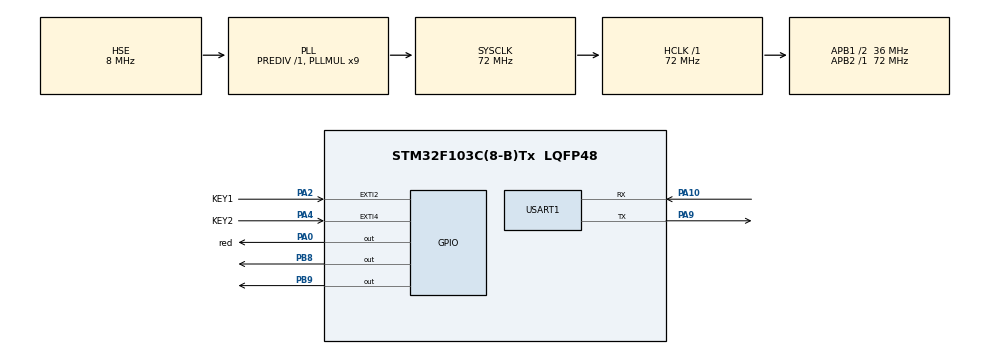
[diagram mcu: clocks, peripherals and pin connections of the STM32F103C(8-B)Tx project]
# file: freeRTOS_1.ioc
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FREERTOS.Tasks01=defaultTask,0,128,StartDefaultTask,Default,NULL,Dynamic,NULL,NULL
Mcu.Family=STM32F1
Mcu.Name=STM32F103C(8-B)Tx
Mcu.Package=LQFP48
NVIC.EXTI2_IRQn=true\:6\:0\:true\:false\:true\:true\:true\:true
NVIC.EXTI4_IRQn=true\:6\:0\:true\:false\:true\:true\:true\:true
NVIC.PriorityGroup=NVIC_PRIORITYGROUP_4
PA0-WKUP.GPIO_Label=red
PA0-WKUP.Signal=GPIO_Output
PA10.Mode=Asynchronous
PA10.Signal=USART1_RX
PA13.Mode=Serial_Wire
PA13.Signal=SYS_JTMS-SWDIO
PA14.Mode=Serial_Wire
PA14.Signal=SYS_JTCK-SWCLK
PA2.GPIO_Label=KEY1
PA2.GPIO_ModeDefaultEXTI=GPIO_MODE_IT_FALLING
PA2.GPIO_PuPd=GPIO_PULLUP
PA2.Signal=GPXTI2
PA4.GPIO_Label=KEY2
PA4.GPIO_ModeDefaultEXTI=GPIO_MODE_IT_FALLING
PA4.GPIO_PuPd=GPIO_PULLUP
PA4.Signal=GPXTI4
PA9.Mode=Asynchronous
PA9.Signal=USART1_TX
PB8.GPIO_ModeDefaultOutputPP=GPIO_MODE_OUTPUT_PP
PB8.GPIO_Speed=GPIO_SPEED_FREQ_HIGH
PB8.PinState=GPIO_PIN_SET
PB8.Signal=GPIO_Output
PB9.GPIO_Speed=GPIO_SPEED_FREQ_HIGH
PB9.PinState=GPIO_PIN_SET
PB9.Signal=GPIO_Output
PC14-OSC32_IN.Mode=LSE-External-Oscillator
PC14-OSC32_IN.Signal=RCC_OSC32_IN
PC15-OSC32_OUT.Mode=LSE-External-Oscillator
PC15-OSC32_OUT.Signal=RCC_OSC32_OUT
PD0-OSC_IN.Mode=HSE-External-Oscillator
PD0-OSC_IN.Signal=RCC_OSC_IN
PD1-OSC_OUT.Mode=HSE-External-Oscillator
PD1-OSC_OUT.Signal=RCC_OSC_OUT
ProjectManager.HeapSize=0x200
ProjectManager.StackSize=0x400
ProjectManager.TargetToolchain=MDK-ARM V5.32
RCC.AHBFreq_Value=72000000
RCC.APB1CLKDivider=RCC_HCLK_DIV2
RCC.APB1Freq_Value=36000000
RCC.APB1TimFreq_Value=72000000
RCC.APB2Freq_Value=72000000
RCC.APB2TimFreq_Value=72000000
RCC.HCLKFreq_Value=72000000
RCC.PLLMUL=RCC_PLL_MUL9
RCC.PLLSourceVirtual=RCC_PLLSOURCE_HSE
RCC.SYSCLKFreq_VALUE=72000000
RCC.SYSCLKSource=RCC_SYSCLKSOURCE_PLLCLK
RCC.USBFreq_Value=72000000
USART1.VirtualMode=VM_ASYNC
VP_FREERTOS_VS_CMSIS_V1.Mode=CMSIS_V1
board=custom

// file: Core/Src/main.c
/* USER CODE BEGIN Header */
/**
  ******************************************************************************
  * @file           : main.c
  * @brief          : Main program body
  ******************************************************************************
  * @attention
  *
  * Copyright (c) 2026 STMicroelectronics.
  * All rights reserved.
  *
  * This software is licensed under terms that can be found in the LICENSE file
  * in the root directory of this software component.
  * If no LICENSE file comes with this software, it is provided AS-IS.
  *
  ******************************************************************************
  */
/* USER CODE END Header */
#include "main.h"
#include "cmsis_os.h"
#include "usart.h"
#include "gpio.h"

/* USER CODE BEGIN Includes */
#include "OLED.h"
/* USER CODE END Includes */

void SystemClock_Config(void);
void MX_FREERTOS_Init(void);

int main(void)
{

  /* MCU Configuration--------------------------------------------------------*/

  /* Reset of all peripherals, Initializes the Flash interface and the Systick. */
  HAL_Init();

  /* Configure the system clock */
  SystemClock_Config();

  /* Initialize all configured peripherals */
  MX_GPIO_Init();
  MX_USART1_UART_Init();

  /* Call init function for freertos objects (in freertos.c) */
  MX_FREERTOS_Init();
  /* Start scheduler */
  osKernelStart();

  /* We should never get here as control is now taken by the scheduler */
  /* Infinite loop */
  while (1)
  {

  }
}

void SystemClock_Config(void)
{
  RCC_OscInitTypeDef RCC_OscInitStruct = {0};
  RCC_ClkInitTypeDef RCC_ClkInitStruct = {0};

  /** Initializes the RCC Oscillators according to the specified parameters
  * in the RCC_OscInitTypeDef structure.
  */
  RCC_OscInitStruct.OscillatorType = RCC_OSCILLATORTYPE_HSE;
  RCC_OscInitStruct.HSEState = RCC_HSE_ON;
  RCC_OscInitStruct.HSEPredivValue = RCC_HSE_PREDIV_DIV1;
  RCC_OscInitStruct.HSIState = RCC_HSI_ON;
  RCC_OscInitStruct.PLL.PLLState = RCC_PLL_ON;
  RCC_OscInitStruct.PLL.PLLSource = RCC_PLLSOURCE_HSE;
  RCC_OscInitStruct.PLL.PLLMUL = RCC_PLL_MUL9;
  if (HAL_RCC_OscConfig(&RCC_OscInitStruct) != HAL_OK)
  {
    Error_Handler();
  }
  /** Initializes the CPU, AHB and APB buses clocks
  */
  RCC_ClkInitStruct.ClockType = RCC_CLOCKTYPE_HCLK|RCC_CLOCKTYPE_SYSCLK
                              |RCC_CLOCKTYPE_PCLK1|RCC_CLOCKTYPE_PCLK2;
  RCC_ClkInitStruct.SYSCLKSource = RCC_SYSCLKSOURCE_PLLCLK;
  RCC_ClkInitStruct.AHBCLKDivider = RCC_SYSCLK_DIV1;
  RCC_ClkInitStruct.APB1CLKDivider = RCC_HCLK_DIV2;
  RCC_ClkInitStruct.APB2CLKDivider = RCC_HCLK_DIV1;

  if (HAL_RCC_ClockConfig(&RCC_ClkInitStruct, FLASH_LATENCY_2) != HAL_OK)
  {
    Error_Handler();
  }
}

void Error_Handler(void)
{
  __disable_irq();
  while (1)
  {
  }
}

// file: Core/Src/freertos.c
/* USER CODE BEGIN Header */
/**
  ******************************************************************************
  * File Name          : freertos.c
  * Description        : Code for freertos applications
  ******************************************************************************
  * @attention
  *
  * Copyright (c) 2026 STMicroelectronics.
  * All rights reserved.
  *
  * This software is licensed under terms that can be found in the LICENSE file
  * in the root directory of this software component.
  * If no LICENSE file comes with this software, it is provided AS-IS.
  *
  ******************************************************************************
  */
/* USER CODE END Header */

#include "FreeRTOS.h"
#include "task.h"
#include "main.h"
#include "cmsis_os.h"

/* USER CODE BEGIN Includes */
#include "OLED.h"
#include "Key.h"
/* USER CODE END Includes */

osThreadId defaultTaskHandle;

/* USER CODE BEGIN FunctionPrototypes */
void redTask(void const * argument);
void keyTask(void const * argument);
/* USER CODE END FunctionPrototypes */

void StartDefaultTask(void const * argument);

void MX_FREERTOS_Init(void); /* (MISRA C 2004 rule 8.1) */

/* GetIdleTaskMemory prototype (linked to static allocation support) */
void vApplicationGetIdleTaskMemory( StaticTask_t **ppxIdleTaskTCBBuffer, StackType_t **ppxIdleTaskStackBuffer, uint32_t *pulIdleTaskStackSize );

/* USER CODE BEGIN GET_IDLE_TASK_MEMORY */
static StaticTask_t xIdleTaskTCBBuffer;
static StackType_t xIdleStack[configMINIMAL_STACK_SIZE];

void vApplicationGetIdleTaskMemory( StaticTask_t **ppxIdleTaskTCBBuffer, StackType_t **ppxIdleTaskStackBuffer, uint32_t *pulIdleTaskStackSize )
{
  *ppxIdleTaskTCBBuffer = &xIdleTaskTCBBuffer;
  *ppxIdleTaskStackBuffer = &xIdleStack[0];
  *pulIdleTaskStackSize = configMINIMAL_STACK_SIZE;
}
/* USER CODE END GET_IDLE_TASK_MEMORY */

void MX_FREERTOS_Init(void) {

  /* Create the thread(s) */
  /* definition and creation of defaultTask */
  osThreadDef(defaultTask, StartDefaultTask, osPriorityNormal, 0, 128);
  defaultTaskHandle = osThreadCreate(osThread(defaultTask), NULL);

  /* USER CODE BEGIN RTOS_THREADS */
  /* 创建红灯任务：亮1000ms / 灭1000ms */
  osThreadDef(redTask, redTask, osPriorityNormal, 0, 128);
  osThreadCreate(osThread(redTask), NULL);

  /* 按键扫描任务 */
  osThreadDef(keyTask, keyTask, osPriorityNormal, 0, 256);
  osThreadCreate(osThread(keyTask), NULL);
  /* USER CODE END RTOS_THREADS */

}

void StartDefaultTask(void const * argument)
{
  /* USER CODE BEGIN StartDefaultTask */
  for(;;)
  {
    // 空闲循环
  }
  /* USER CODE END StartDefaultTask */
}

/* USER CODE BEGIN Application */

/**
  * @brief  红灯任务：PA0输出，亮1000ms，灭1000ms
  */
void redTask(void const * argument)
{
  for(;;)
  {
    HAL_GPIO_WritePin(GPIOA, GPIO_PIN_0, GPIO_PIN_SET);   // 红灯亮
    osDelay(1000);
    HAL_GPIO_WritePin(GPIOA, GPIO_PIN_0, GPIO_PIN_RESET); // 红灯灭
    osDelay(1000);
  }
}

/**
  * @brief  在OLED上显示带符号的数字，格式：+xxx / -xxx / 000
  * @param  x, y: 显示起始坐标（左上角）
  * @param  num: 要显示的数，范围 -200 ~ 200
  * @note   手动拆位显示，不依赖 sprintf，避免嵌入式库格式化异常
  *         每个字符宽 8 像素（OLED_8X16）
  */
static void OLED_ShowSignedNumber(uint8_t x, uint8_t y, int16_t num)
{
    uint16_t abs_num;
    char sign;

    // 先清空 4 个字符位置（符号位+3位数字），防止残影
    OLED_ShowString(x, y, "    ", OLED_8X16);

    if (num > 0) {
        sign = '+';
        abs_num = (uint16_t)num;
    } else if (num < 0) {
        sign = '-';
        abs_num = (uint16_t)(-num);
    } else {
        // 0 显示为 000（不带符号）
        OLED_ShowChar(x,      y, '0', OLED_8X16);
        OLED_ShowChar(x + 8,  y, '0', OLED_8X16);
        OLED_ShowChar(x + 16, y, '0', OLED_8X16);
        return;
    }

    // 显示符号位
    OLED_ShowChar(x,      y, sign, OLED_8X16);
    // 显示三位数字（百位 / 十位 / 个位）
    OLED_ShowChar(x + 8,  y, '0' + (abs_num / 100) % 10, OLED_8X16);
    OLED_ShowChar(x + 16, y, '0' + (abs_num / 10)  % 10, OLED_8X16);
    OLED_ShowChar(x + 24, y, '0' + (abs_num)       % 10, OLED_8X16);
}

/**
  * @brief  按键任务：扫描按键+OLED显示数值，KEY1加1，KEY2减1
  * @note   数值范围 -200 ~ 200，显示格式：+xxx / -xxx / 000
  */
/**
  * @brief  按键任务：接收中断事件 + OLED显示数值
  * @note   数值范围 -200 ~ 200，显示格式：+xxx / -xxx / 000
  */
void keyTask(void const * argument)
{
    int16_t num = 0;     // 计数变量，范围 -200 ~ 200

    Key_Init();          // 初始化按键消息队列
    OLED_Init();         // 初始化OLED屏幕
    OLED_Clear();        // 清屏

    // 初始显示：第一行显示标签和数值 000
    OLED_ShowString(0, 0, "Num:", OLED_8X16);
    OLED_ShowSignedNumber(32, 0, num);
    OLED_Update();       // 刷新到物理屏幕

    for(;;)
    {
        /* 1. 阻塞等待按键中断投递的消息，不再轮询 */
        KeyID key = Key_GetEvent(osWaitForever);
        if (key == KEY_NUM) {
            continue;    // 超时或无效事件
        }

        GPIO_TypeDef *port = (key == KEY_1) ? KEY1_PORT : KEY2_PORT;
        uint16_t      pin  = (key == KEY_1) ? KEY1_PIN  : KEY2_PIN;

        /* 2. 软件去抖：延时20ms后仍为低电平才确认有效按下 */
        osDelay(20);
        if (HAL_GPIO_ReadPin(port, pin) != GPIO_PIN_RESET) {
            continue;    // 已经松开，是抖动，丢弃
        }

        /* 3. 处理按键逻辑 */
        if (key == KEY_1) {
            if (num < 200) {
                num++;   // KEY1加1，上限200
            }
        } else if (key == KEY_2) {
            if (num > -200) {
                num--;   // KEY2减1，下限-200
            }
        }

        /* 4. 更新OLED显示 */
        OLED_ShowSignedNumber(32, 0, num);
        OLED_Update();

        /* 5. 等待按键释放，避免长按连续触发 */
        while (HAL_GPIO_ReadPin(port, pin) == GPIO_PIN_RESET) {
            osDelay(20);
        }
    }
}
/* USER CODE END Application */
